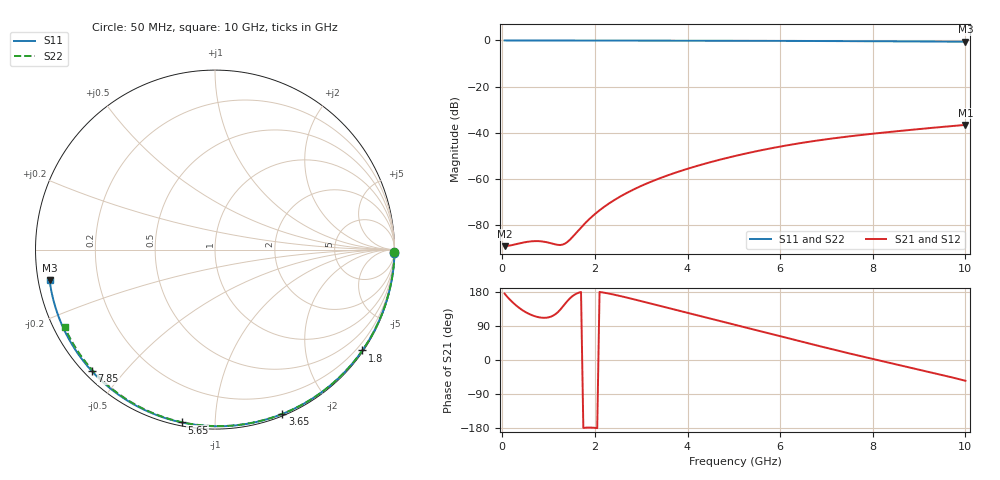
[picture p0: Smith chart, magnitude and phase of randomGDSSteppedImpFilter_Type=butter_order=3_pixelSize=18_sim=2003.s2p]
! freq	dB(S11)	phase(S11)	dB(S12)	phase(S12)
!  dB(S21)	phase(S21)	dB(S22)	phase(S22)
!S-par simulation data
#  GHz  S  DB  R 50
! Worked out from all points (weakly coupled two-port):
!   200 points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, 50 MHz to 10 GHz, reference 50 ohm
!   highest |S21| = -36.64 dB at 10 GHz (marker M1); lowest = -89.2 dB at 50 MHz (marker M2)
!   lowest |S11| = -0.6 dB at 10 GHz (marker M3), VSWR 30.99, Z = 1.63 - j4.62 ohm
!   |S11| at or under -10 dB: nowhere
!   |S22| runs from -0.5 to 0.0 dB; largest |S21 - S12| = 0
!   S11 on the Smith chart (normalised r, x): 50 MHz: open; 1.8 GHz: 0.03, -3.23; 3.65 GHz: 0.02, -1.49; 5.65 GHz: 0.02, -0.82; 7.85 GHz: 0.02, -0.41; 10 GHz: 0.03, -0.09
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0.05  -0.00 -1.0  -89.23 175.2  -89.23 175.2  -0.00 -0.9
0.45  -0.01 -8.7  -87.68 130.3  -87.68 130.3  -0.01 -8.0
0.85  -0.02 -16.4  -87.15 111.7  -87.15 111.7  -0.02 -15.0
1.3  -0.03 -25.0  -88.56 139.8  -88.56 139.8  -0.03 -22.8
1.75  -0.04 -33.4  -80.06 -179.3  -80.06 -179.3  -0.04 -30.5
1.8  -0.04 -34.4  -79.02 -178.5  -79.02 -178.5  -0.04 -31.3
1.95  -0.05 -37.2  -76.18 -178.5  -76.18 -178.5  -0.04 -33.9
2.1  -0.05 -39.9  -73.68 179.6  -73.68 179.6  -0.05 -36.4
2.45  -0.06 -46.4  -68.85 171.5  -68.85 171.5  -0.05 -42.3
2.9  -0.07 -54.5  -64.02 158.4  -64.02 158.4  -0.06 -49.7
3.4  -0.08 -63.3  -59.78 143.0  -59.78 143.0  -0.08 -57.8
3.65  -0.09 -67.7  -57.96 135.3  -57.96 135.3  -0.08 -61.8
4.35  -0.11 -79.7  -53.59 113.7  -53.59 113.7  -0.10 -72.8
5.05  -0.14 -91.3  -49.99 92.2  -49.99 92.2  -0.13 -83.4
5.65  -0.17 -100.9  -47.38 73.7  -47.38 73.7  -0.15 -92.2
6.15  -0.19 -108.9  -45.49 58.2  -45.49 58.2  -0.18 -99.4
6.7  -0.23 -117.5  -43.71 41.2  -43.71 41.2  -0.21 -107.2
7.25  -0.27 -126.0  -42.20 24.6  -42.20 24.6  -0.25 -114.9
7.85  -0.32 -135.3  -40.78 7.1  -40.78 7.1  -0.29 -123.2
8.35  -0.37 -143.0  -39.72 -7.1  -39.72 -7.1  -0.33 -130.0
9.2  -0.46 -156.3  -38.05 -31.0  -38.05 -31.0  -0.42 -141.6
10  -0.56 -169.4  -36.64 -54.8  -36.64 -54.8  -0.51 -152.6
